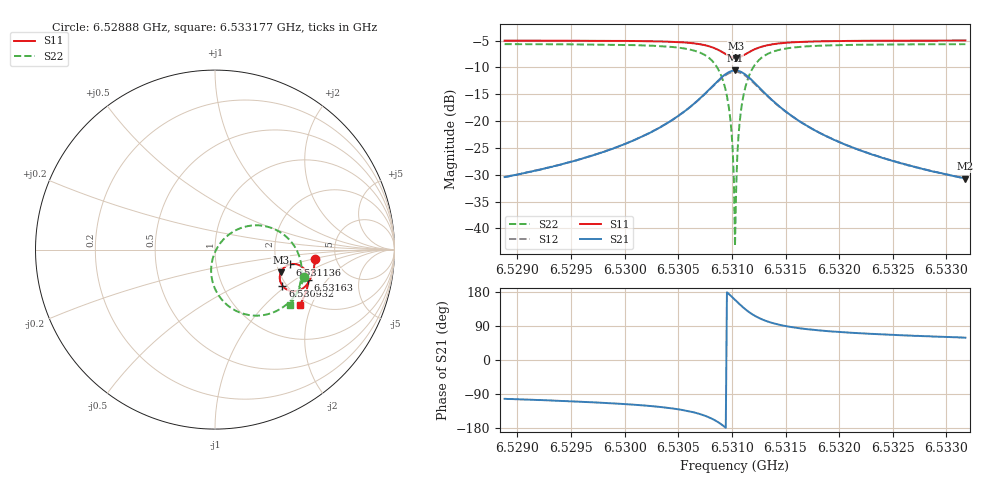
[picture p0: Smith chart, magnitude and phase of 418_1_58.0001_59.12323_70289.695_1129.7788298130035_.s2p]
#  HZ  S  RI  R  50.00
! Rohde & Schwarz Vector Network Analyzer
! Rohde-Schwarz,ZNB20-2Port,1311601062101988,3.16
! Created: UTC 3/21/2024, 1:09:01 AM
! freq[Hz]  re:S11  im:S11  re:S21  im:S21  re:S12  im:S12  re:S22  im:S22
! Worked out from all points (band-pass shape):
!   401 points, 6.52888 GHz to 6.533177 GHz, reference 50 ohm
!   highest |S21| = -10.57 dB at 6.531029 GHz (marker M1); lowest = -30.7 dB at 6.533177 GHz (marker M2)
!   |S21| within 3 dB of the highest: 6.530816 GHz to 6.531245 GHz (429.2 kHz wide, 0.00657 % of centre)
!   lowest |S11| = -8.2 dB at 6.531039 GHz (marker M3), VSWR 2.27, Z = 102 - j30.3 ohm
!   |S11| at or under -10 dB: nowhere
!   |S22| runs from -43.3 to -5.7 dB; largest |S21 - S12| = 0.011
!   S11 on the Smith chart (normalised r, x): 6.52888 GHz: 3.47, -0.53; 6.530932 GHz: 1.90, -0.94; 6.531136 GHz: 2.36, -0.48; 6.53163 GHz: 2.71, -1.29; 6.533177 GHz: 1.82, -1.65
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6.5288804e9  0.5586 -0.0525  -0.00649 -0.0294  -0.00707 -0.0292  0.4966 -0.1554
6.5296001e9  0.5489 -0.1118  -0.0154 -0.0417  -0.0163 -0.0414  0.4673 -0.2214
6.5303198e9  0.5213 -0.1817  -0.0477 -0.0718  -0.0497 -0.0705  0.3893 -0.3135
6.5307494e9  0.4528 -0.2314  -0.1514 -0.0977  -0.1537 -0.0915  0.1893 -0.3646
6.5308568e9  0.4095 -0.2269  -0.2186 -0.0729  -0.2182 -0.064  0.074 -0.3138
6.530932e9  0.3757 -0.2012  -0.2687 -0.017  -0.2636 -0.00759  -0.0028 -0.2116
6.5309857e9  0.3615 -0.1668  -0.2859 0.0484  -0.2772 0.0554  -0.0212 -0.1005
6.5309965e9  0.3608 -0.1589  -0.2856 0.0629  -0.2765 0.0692  -0.0184 -0.0762
6.5310072e9  0.3609 -0.1508  -0.284 0.0778  -0.2744 0.0832  -0.0133 -0.0522
6.531018e9  0.3619 -0.1425  -0.2808 0.0924  -0.2708 0.0969  -0.00581 -0.0284
6.5310287e9  0.3637 -0.1345  -0.2762 0.1069  -0.2661 0.1104  0.00411 -0.00545
6.5310395e9  0.3664 -0.1267  -0.27 0.1207  -0.2599 0.1233  0.0162 0.0164
6.5310502e9  0.3701 -0.1193  -0.2628 0.134  -0.2526 0.1357  0.0303 0.037
6.5310609e9  0.3744 -0.1124  -0.2542 0.1463  -0.2444 0.1472  0.0462 0.0557
6.5310824e9  0.3848 -0.1003  -0.2341 0.1676  -0.2251 0.1669  0.0825 0.0877
6.5311361e9  0.4167 -0.0827  -0.1759 0.1993  -0.1696 0.1965  0.184 0.1311
6.5312006e9  0.453 -0.0816  -0.1119 0.2036  -0.1082 0.2006  0.2924 0.1274
6.5312973e9  0.4889 -0.0999  -0.0489 0.1791  -0.0472 0.1772  0.3958 0.073
6.5316302e9  0.5192 -0.1672  0.0107 0.0991  0.0117 0.0986  0.4816 -0.0933
6.5317484e9  0.5188 -0.184  0.015 0.0832  0.0159 0.083  0.483 -0.1284
6.5324681e9  0.4988 -0.2561  0.0171 0.0399  0.0178 0.0397  0.4555 -0.2447
6.533177e9  0.4714 -0.3081  0.015 0.0249  0.0156 0.0248  0.4203 -0.3064
